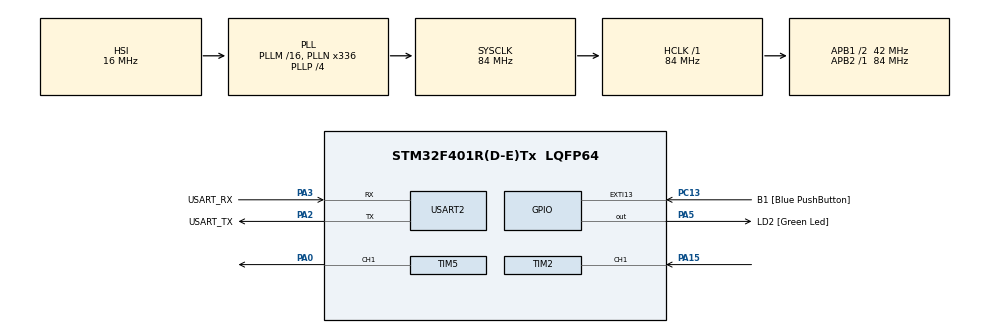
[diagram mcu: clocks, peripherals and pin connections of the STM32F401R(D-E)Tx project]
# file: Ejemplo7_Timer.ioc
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Mcu.Family=STM32F4
Mcu.Name=STM32F401R(D-E)Tx
Mcu.Package=LQFP64
NVIC.PriorityGroup=NVIC_PRIORITYGROUP_0
NVIC.TIM1_BRK_TIM9_IRQn=true\:0\:0\:false\:false\:true\:true\:true\:true
PA0-WKUP.Signal=S_TIM5_CH1
PA13.GPIO_Label=TMS
PA13.Mode=Serial_Wire
PA13.Signal=SYS_JTMS-SWDIO
PA14.GPIO_Label=TCK
PA14.Mode=Serial_Wire
PA14.Signal=SYS_JTCK-SWCLK
PA15.Signal=S_TIM2_CH1_ETR
PA2.GPIO_Label=USART_TX
PA2.GPIO_Mode=GPIO_MODE_AF_PP
PA2.GPIO_PuPd=GPIO_NOPULL
PA2.GPIO_Speed=GPIO_SPEED_FREQ_LOW
PA2.Mode=Asynchronous
PA2.Signal=USART2_TX
PA3.GPIO_Label=USART_RX
PA3.GPIO_Mode=GPIO_MODE_AF_PP
PA3.GPIO_PuPd=GPIO_NOPULL
PA3.GPIO_Speed=GPIO_SPEED_FREQ_LOW
PA3.Mode=Asynchronous
PA3.Signal=USART2_RX
PA5.GPIO_Label=LD2 [Green Led]
PA5.GPIO_Mode=GPIO_MODE_OUTPUT_PP
PA5.GPIO_PuPd=GPIO_NOPULL
PA5.GPIO_Speed=GPIO_SPEED_FREQ_LOW
PA5.Signal=GPIO_Output
PB3.GPIO_Label=SWO
PB3.Signal=SYS_JTDO-SWO
PC13-ANTI_TAMP.GPIO_Label=B1 [Blue PushButton]
PC13-ANTI_TAMP.GPIO_ModeDefaultEXTI=GPIO_MODE_IT_FALLING
PC13-ANTI_TAMP.GPIO_PuPd=GPIO_NOPULL
PC13-ANTI_TAMP.Signal=GPXTI13
PC14-OSC32_IN.Mode=LSE-External-Oscillator
PC14-OSC32_IN.Signal=RCC_OSC32_IN
PC15-OSC32_OUT.Mode=LSE-External-Oscillator
PC15-OSC32_OUT.Signal=RCC_OSC32_OUT
PH0\ -\ OSC_IN.Mode=HSE-External-Clock-Source
PH0\ -\ OSC_IN.Signal=RCC_OSC_IN
PH1\ -\ OSC_OUT.Mode=HSE-External-Clock-Source
PH1\ -\ OSC_OUT.Signal=RCC_OSC_OUT
ProjectManager.HeapSize=0x200
ProjectManager.StackSize=0x400
ProjectManager.TargetToolchain=STM32CubeIDE
RCC.48MHZClocksFreq_Value=48000000
RCC.AHBFreq_Value=84000000
RCC.APB1CLKDivider=RCC_HCLK_DIV2
RCC.APB1Freq_Value=42000000
RCC.APB1TimFreq_Value=84000000
RCC.APB2Freq_Value=84000000
RCC.APB2TimFreq_Value=84000000
RCC.CortexFreq_Value=84000000
RCC.HCLKFreq_Value=84000000
RCC.HSE_VALUE=8000000
RCC.HSI_VALUE=16000000
RCC.PLLN=336
RCC.PLLP=RCC_PLLP_DIV4
RCC.PLLQ=7
RCC.SYSCLKFreq_VALUE=84000000
RCC.SYSCLKSource=RCC_SYSCLKSOURCE_PLLCLK
RCC.VCOOutputFreq_Value=336000000
SH.S_TIM2_CH1_ETR.0=TIM2_CH1,TriggerSource_TI1FP1
SH.S_TIM5_CH1.0=TIM5_CH1,PWM Generation1 CH1
TIM5.Channel-PWM\ Generation1\ CH1=TIM_CHANNEL_1
TIM5.Period=8400-1
TIM5.Prescaler=10-1
TIM9.Period=30000-1
TIM9.Prescaler=700-1
USART2.VirtualMode=VM_ASYNC
VP_TIM2_VS_ControllerModeClock.Mode=Clock Mode
VP_TIM9_VS_ClockSourceINT.Mode=Internal
board=NUCLEO-F401RE

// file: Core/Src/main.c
/* USER CODE BEGIN Header */
/**
  ******************************************************************************
  * @file           : main.c
  * @brief          : Main program body
  ******************************************************************************
  * @attention
  *
  * Copyright (c) 2023 STMicroelectronics.
  * All rights reserved.
  *
  * This software is licensed under terms that can be found in the LICENSE file
  * in the root directory of this software component.
  * If no LICENSE file comes with this software, it is provided AS-IS.
  *
  ******************************************************************************
  */
/* USER CODE END Header */
#include "main.h"

/* USER CODE BEGIN Includes */
#include <string.h>
/* USER CODE END Includes */

 TIM_HandleTypeDef htim2;
TIM_HandleTypeDef htim5;
TIM_HandleTypeDef htim9;

UART_HandleTypeDef huart2;

void SystemClock_Config(void);
static void MX_GPIO_Init(void);
static void MX_USART2_UART_Init(void);
static void MX_TIM9_Init(void);
static void MX_TIM5_Init(void);
static void MX_TIM2_Init(void);

/* USER CODE BEGIN 0 */
volatile uint16_t pulsos;
volatile	uint8_t str_pulsos[10];
/* USER CODE END 0 */

int main(void)
{

  /* MCU Configuration--------------------------------------------------------*/

  /* Reset of all peripherals, Initializes the Flash interface and the Systick. */
  HAL_Init();

  /* Configure the system clock */
  SystemClock_Config();

  /* Initialize all configured peripherals */
  MX_GPIO_Init();
  MX_USART2_UART_Init();
  MX_TIM9_Init();
  MX_TIM5_Init();
  MX_TIM2_Init();
  /* USER CODE BEGIN 2 */
  HAL_TIM_Base_Start(&htim2);//contador
  HAL_TIM_Base_Start_IT(&htim9);//tempaorizador
  HAL_TIM_PWM_Start(&htim5, TIM_CHANNEL_1);//pwm
__HAL_TIM_SET_COMPARE(&htim5,TIM_CHANNEL_1,1);
uint16_t var;
  /* USER CODE END 2 */

  /* Infinite loop */
  /* USER CODE BEGIN WHILE */
  while (1)
  {
	  for (var = 0; var < 8399; ++var) {
		  __HAL_TIM_SET_COMPARE(&htim5,TIM_CHANNEL_1,var);
		  HAL_Delay(1);
	}

    /* USER CODE END WHILE */

  }
}

void SystemClock_Config(void)
{
  RCC_OscInitTypeDef RCC_OscInitStruct = {0};
  RCC_ClkInitTypeDef RCC_ClkInitStruct = {0};

  /** Configure the main internal regulator output voltage
  */
  __HAL_RCC_PWR_CLK_ENABLE();
  __HAL_PWR_VOLTAGESCALING_CONFIG(PWR_REGULATOR_VOLTAGE_SCALE2);

  /** Initializes the RCC Oscillators according to the specified parameters
  * in the RCC_OscInitTypeDef structure.
  */
  RCC_OscInitStruct.OscillatorType = RCC_OSCILLATORTYPE_HSI;
  RCC_OscInitStruct.HSIState = RCC_HSI_ON;
  RCC_OscInitStruct.HSICalibrationValue = RCC_HSICALIBRATION_DEFAULT;
  RCC_OscInitStruct.PLL.PLLState = RCC_PLL_ON;
  RCC_OscInitStruct.PLL.PLLSource = RCC_PLLSOURCE_HSI;
  RCC_OscInitStruct.PLL.PLLM = 16;
  RCC_OscInitStruct.PLL.PLLN = 336;
  RCC_OscInitStruct.PLL.PLLP = RCC_PLLP_DIV4;
  RCC_OscInitStruct.PLL.PLLQ = 7;
  if (HAL_RCC_OscConfig(&RCC_OscInitStruct) != HAL_OK)
  {
    Error_Handler();
  }

  /** Initializes the CPU, AHB and APB buses clocks
  */
  RCC_ClkInitStruct.ClockType = RCC_CLOCKTYPE_HCLK|RCC_CLOCKTYPE_SYSCLK
                              |RCC_CLOCKTYPE_PCLK1|RCC_CLOCKTYPE_PCLK2;
  RCC_ClkInitStruct.SYSCLKSource = RCC_SYSCLKSOURCE_PLLCLK;
  RCC_ClkInitStruct.AHBCLKDivider = RCC_SYSCLK_DIV1;
  RCC_ClkInitStruct.APB1CLKDivider = RCC_HCLK_DIV2;
  RCC_ClkInitStruct.APB2CLKDivider = RCC_HCLK_DIV1;

  if (HAL_RCC_ClockConfig(&RCC_ClkInitStruct, FLASH_LATENCY_2) != HAL_OK)
  {
    Error_Handler();
  }
}

static void MX_TIM2_Init(void)
{

  TIM_SlaveConfigTypeDef sSlaveConfig = {0};
  TIM_MasterConfigTypeDef sMasterConfig = {0};

  htim2.Instance = TIM2;
  htim2.Init.Prescaler = 0;
  htim2.Init.CounterMode = TIM_COUNTERMODE_UP;
  htim2.Init.Period = 4294967295;
  htim2.Init.ClockDivision = TIM_CLOCKDIVISION_DIV1;
  htim2.Init.AutoReloadPreload = TIM_AUTORELOAD_PRELOAD_DISABLE;
  if (HAL_TIM_Base_Init(&htim2) != HAL_OK)
  {
    Error_Handler();
  }
  sSlaveConfig.SlaveMode = TIM_SLAVEMODE_EXTERNAL1;
  sSlaveConfig.InputTrigger = TIM_TS_TI1FP1;
  sSlaveConfig.TriggerPolarity = TIM_TRIGGERPOLARITY_RISING;
  sSlaveConfig.TriggerFilter = 0;
  if (HAL_TIM_SlaveConfigSynchro(&htim2, &sSlaveConfig) != HAL_OK)
  {
    Error_Handler();
  }
  sMasterConfig.MasterOutputTrigger = TIM_TRGO_RESET;
  sMasterConfig.MasterSlaveMode = TIM_MASTERSLAVEMODE_DISABLE;
  if (HAL_TIMEx_MasterConfigSynchronization(&htim2, &sMasterConfig) != HAL_OK)
  {
    Error_Handler();
  }

}

static void MX_TIM5_Init(void)
{

  TIM_MasterConfigTypeDef sMasterConfig = {0};
  TIM_OC_InitTypeDef sConfigOC = {0};

  htim5.Instance = TIM5;
  htim5.Init.Prescaler = 10-1;
  htim5.Init.CounterMode = TIM_COUNTERMODE_UP;
  htim5.Init.Period = 8400-1;
  htim5.Init.ClockDivision = TIM_CLOCKDIVISION_DIV1;
  htim5.Init.AutoReloadPreload = TIM_AUTORELOAD_PRELOAD_DISABLE;
  if (HAL_TIM_PWM_Init(&htim5) != HAL_OK)
  {
    Error_Handler();
  }
  sMasterConfig.MasterOutputTrigger = TIM_TRGO_RESET;
  sMasterConfig.MasterSlaveMode = TIM_MASTERSLAVEMODE_DISABLE;
  if (HAL_TIMEx_MasterConfigSynchronization(&htim5, &sMasterConfig) != HAL_OK)
  {
    Error_Handler();
  }
  sConfigOC.OCMode = TIM_OCMODE_PWM1;
  sConfigOC.Pulse = 0;
  sConfigOC.OCPolarity = TIM_OCPOLARITY_HIGH;
  sConfigOC.OCFastMode = TIM_OCFAST_DISABLE;
  if (HAL_TIM_PWM_ConfigChannel(&htim5, &sConfigOC, TIM_CHANNEL_1) != HAL_OK)
  {
    Error_Handler();
  }
  HAL_TIM_MspPostInit(&htim5);

}

static void MX_TIM9_Init(void)
{

  TIM_ClockConfigTypeDef sClockSourceConfig = {0};

  htim9.Instance = TIM9;
  htim9.Init.Prescaler = 700-1;
  htim9.Init.CounterMode = TIM_COUNTERMODE_UP;
  htim9.Init.Period = 30000-1;
  htim9.Init.ClockDivision = TIM_CLOCKDIVISION_DIV1;
  htim9.Init.AutoReloadPreload = TIM_AUTORELOAD_PRELOAD_DISABLE;
  if (HAL_TIM_Base_Init(&htim9) != HAL_OK)
  {
    Error_Handler();
  }
  sClockSourceConfig.ClockSource = TIM_CLOCKSOURCE_INTERNAL;
  if (HAL_TIM_ConfigClockSource(&htim9, &sClockSourceConfig) != HAL_OK)
  {
    Error_Handler();
  }

}

static void MX_USART2_UART_Init(void)
{

  huart2.Instance = USART2;
  huart2.Init.BaudRate = 115200;
  huart2.Init.WordLength = UART_WORDLENGTH_8B;
  huart2.Init.StopBits = UART_STOPBITS_1;
  huart2.Init.Parity = UART_PARITY_NONE;
  huart2.Init.Mode = UART_MODE_TX_RX;
  huart2.Init.HwFlowCtl = UART_HWCONTROL_NONE;
  huart2.Init.OverSampling = UART_OVERSAMPLING_16;
  if (HAL_UART_Init(&huart2) != HAL_OK)
  {
    Error_Handler();
  }

}

static void MX_GPIO_Init(void)
{
  GPIO_InitTypeDef GPIO_InitStruct = {0};

  /* GPIO Ports Clock Enable */
  __HAL_RCC_GPIOC_CLK_ENABLE();
  __HAL_RCC_GPIOH_CLK_ENABLE();
  __HAL_RCC_GPIOA_CLK_ENABLE();
  __HAL_RCC_GPIOB_CLK_ENABLE();

  /*Configure GPIO pin Output Level */
  HAL_GPIO_WritePin(LD2_GPIO_Port, LD2_Pin, GPIO_PIN_RESET);

  /*Configure GPIO pin : B1_Pin */
  GPIO_InitStruct.Pin = B1_Pin;
  GPIO_InitStruct.Mode = GPIO_MODE_IT_FALLING;
  GPIO_InitStruct.Pull = GPIO_NOPULL;
  HAL_GPIO_Init(B1_GPIO_Port, &GPIO_InitStruct);

  /*Configure GPIO pin : LD2_Pin */
  GPIO_InitStruct.Pin = LD2_Pin;
  GPIO_InitStruct.Mode = GPIO_MODE_OUTPUT_PP;
  GPIO_InitStruct.Pull = GPIO_NOPULL;
  GPIO_InitStruct.Speed = GPIO_SPEED_FREQ_LOW;
  HAL_GPIO_Init(LD2_GPIO_Port, &GPIO_InitStruct);

}

/* USER CODE BEGIN 4 */
void HAL_TIM_PeriodElapsedCallback(TIM_HandleTypeDef *htim){

	if (htim == &htim9) {

		  HAL_GPIO_TogglePin(LD2_GPIO_Port, LD2_Pin);
		  pulsos = __HAL_TIM_GET_COUNTER(&htim2);

		  sprintf(str_pulsos,"%u\n\r",pulsos);
		  HAL_UART_Transmit(&huart2, str_pulsos, strlen(str_pulsos), 200);

		  if (pulsos == 600) {
			__HAL_TIM_SET_COUNTER(&htim2,0);
		}
	}

}
/* USER CODE END 4 */

void Error_Handler(void)
{
  __disable_irq();
  while (1)
  {
  }
}
